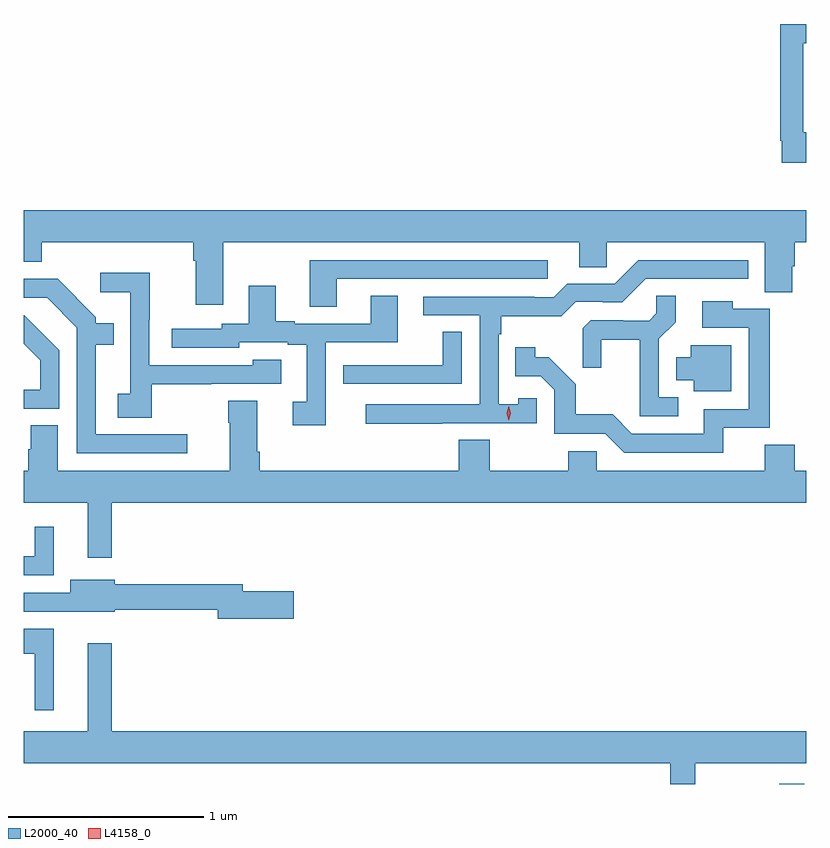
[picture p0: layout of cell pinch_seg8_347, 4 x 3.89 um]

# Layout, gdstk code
import gdstk
lib = gdstk.Library(unit=1e-6, precision=1e-09)
def R(c, l, rs):  # rectangles x0, y0, x1, y1
    for r in rs: c.add(gdstk.rectangle(r[:2], r[2:], *l))
def P(c, l, *ps):  # polygons
    for p in ps: c.add(gdstk.Polygon(p, *l))
L2000_40 = (2000, 40)
L4158_0 = (4158, 0)

pinch_seg8_347 = lib.new_cell('pinch_seg8_347')
R(pinch_seg8_347, L2000_40, [(437.058,1124.385,437.186,1124.386)])
P(pinch_seg8_347, L2000_40, [(437.196,1127.718),(437.181,1127.718),(437.181,1128.174),(437.196,1128.174),(437.196,1128.272),(437.065,1128.272),(437.065,1127.674),(437.073,1127.674),(437.073,1127.562),(437.196,1127.562)],
  [(434.215,1127.156),(436.037,1127.156),(436.037,1127.029),(436.176,1127.029),(436.176,1127.156),(436.985,1127.156),(436.985,1126.9),(437.125,1126.9),(437.125,1127.034),(437.138,1127.034),(437.138,1127.156),(437.196,1127.156),(437.196,1127.32),(433.196,1127.32),(433.196,1127.057),(433.286,1127.057),(433.286,1127.156),(434.063,1127.156),(434.063,1127.06),(434.075,1127.06),(434.075,1126.836),(434.215,1126.836)],
  [(435.335,1126.23),(435.819,1126.23),(435.819,1126.359),(435.723,1126.359),(435.723,1126.327),(435.624,1126.327),(435.624,1126.685),(435.637,1126.685),(435.637,1126.778),(435.944,1126.778),(436.017,1126.851),(436.156,1126.851),(436.156,1126.848),(436.257,1126.848),(436.377,1126.968),(436.9,1126.968),(436.9,1127.064),(436.338,1127.064),(436.218,1126.944),(435.975,1126.944),(435.906,1126.875),(435.806,1126.875),(435.806,1126.878),(435.237,1126.878),(435.237,1126.782),(435.528,1126.782),(435.528,1126.326),(434.943,1126.326),(434.943,1126.228),(435.335,1126.228)],
  [(434.797,1126.968),(435.874,1126.968),(435.874,1127.064),(434.657,1127.064),(434.657,1126.825),(434.797,1126.825)],
  [(433.849,1126.429),(434.153,1126.429),(434.153,1126.431),(434.512,1126.431),(434.512,1126.555),(434.367,1126.555),(434.367,1126.527),(433.836,1126.527),(433.836,1126.76),(433.839,1126.76),(433.839,1126.999),(433.587,1126.999),(433.587,1126.901),(433.74,1126.901),(433.74,1126.38),(433.677,1126.38),(433.677,1126.258),(433.849,1126.258)],
  [(434.032,1126.173),(433.564,1126.173),(433.564,1126.632),(433.655,1126.632),(433.655,1126.741),(433.563,1126.741),(433.563,1126.773),(433.368,1126.968),(433.196,1126.968),(433.196,1126.872),(433.314,1126.872),(433.467,1126.719),(433.467,1126.077),(434.032,1126.077)],
  [(434.739,1126.644),(435.109,1126.644),(435.109,1126.883),(434.969,1126.883),(434.969,1126.74),(434.581,1126.74),(434.581,1126.753),(434.485,1126.753),(434.485,1126.933),(434.345,1126.933),(434.345,1126.74),(434.208,1126.74),(434.208,1126.713),(433.953,1126.713),(433.953,1126.617),(434.298,1126.617),(434.298,1126.644),(434.546,1126.644),(434.546,1126.632),(434.642,1126.632),(434.642,1126.341),(434.571,1126.341),(434.571,1126.221),(434.739,1126.221)],
  [(436.543,1126.362),(436.443,1126.362),(436.443,1126.661),(436.529,1126.747),(436.529,1126.883),(436.431,1126.883),(436.431,1126.792),(436.394,1126.755),(436.26,1126.755),(436.26,1126.758),(436.095,1126.758),(436.054,1126.717),(436.054,1126.515),(436.148,1126.515),(436.148,1126.658),(436.346,1126.658),(436.346,1126.266),(436.543,1126.266)],
  [(436.772,1126.206),(437.011,1126.206),(437.011,1126.815),(436.821,1126.815),(436.821,1126.855),(436.665,1126.855),(436.665,1126.719),(436.902,1126.719),(436.902,1126.302),(436.673,1126.302),(436.673,1126.176),(436.305,1126.176),(436.207,1126.275),(436.018,1126.275),(436.018,1126.43),(435.88,1126.568),(435.81,1126.568),(435.81,1126.618),(435.709,1126.618),(435.709,1126.47),(435.84,1126.47),(435.909,1126.401),(435.909,1126.176),(436.17,1126.176),(436.266,1126.08),(436.772,1126.08)],
  [(433.377,1126.603),(433.198,1126.782),(433.196,1126.782),(433.196,1126.636),(433.28,1126.552),(433.28,1126.402),(433.196,1126.402),(433.196,1126.305),(433.377,1126.305)],
  [(435.435,1126.697),(435.337,1126.697),(435.337,1126.527),(434.941,1126.527),(434.941,1126.526),(434.829,1126.526),(434.829,1126.431),(435.435,1126.431)],
  [(436.813,1126.63),(436.607,1126.63),(436.607,1126.567),(436.532,1126.567),(436.532,1126.451),(436.622,1126.451),(436.622,1126.394),(436.813,1126.394)],
  [(433.645,1125.824),(437.196,1125.824),(437.196,1125.988),(437.138,1125.988),(437.138,1126.121),(436.985,1126.121),(436.985,1125.988),(436.125,1125.988),(436.125,1126.086),(435.979,1126.086),(435.979,1125.988),(435.579,1125.988),(435.579,1126.145),(435.419,1126.145),(435.419,1125.988),(434.402,1125.988),(434.402,1126.084),(434.389,1126.084),(434.389,1126.345),(434.242,1126.345),(434.242,1126.232),(434.249,1126.232),(434.249,1125.988),(433.369,1125.988),(433.369,1126.22),(433.231,1126.22),(433.231,1126.098),(433.217,1126.098),(433.217,1125.988),(433.196,1125.988),(433.196,1125.824),(433.523,1125.824),(433.523,1125.543),(433.645,1125.543)],
  [(433.348,1125.7),(433.25,1125.7),(433.25,1125.549),(433.196,1125.549),(433.196,1125.453),(433.348,1125.453)],
  [(434.575,1125.372),(434.314,1125.372),(434.314,1125.406),(433.66,1125.406),(433.66,1125.43),(433.433,1125.43),(433.433,1125.363),(433.196,1125.363),(433.196,1125.267),(433.437,1125.267),(433.437,1125.266),(433.66,1125.266),(433.66,1125.277),(434.186,1125.277),(434.186,1125.23),(434.575,1125.23)],
  [(433.348,1125.178),(433.196,1125.178),(433.196,1125.05),(433.25,1125.05),(433.25,1124.763),(433.348,1124.763)],
  [(436.63,1124.492),(437.196,1124.492),(437.196,1124.656),(433.645,1124.656),(433.645,1125.106),(433.523,1125.106),(433.523,1124.656),(433.196,1124.656),(433.196,1124.492),(436.501,1124.492),(436.501,1124.385),(436.63,1124.385)])
P(pinch_seg8_347, L4158_0, [(435.675,1126.245),(435.666,1126.281),(435.675,1126.317),(435.676,1126.317),(435.676,1126.317),(435.686,1126.281),(435.676,1126.245),(435.676,1126.245)])

lib.write_gds('pinch_seg8_347.gds')
